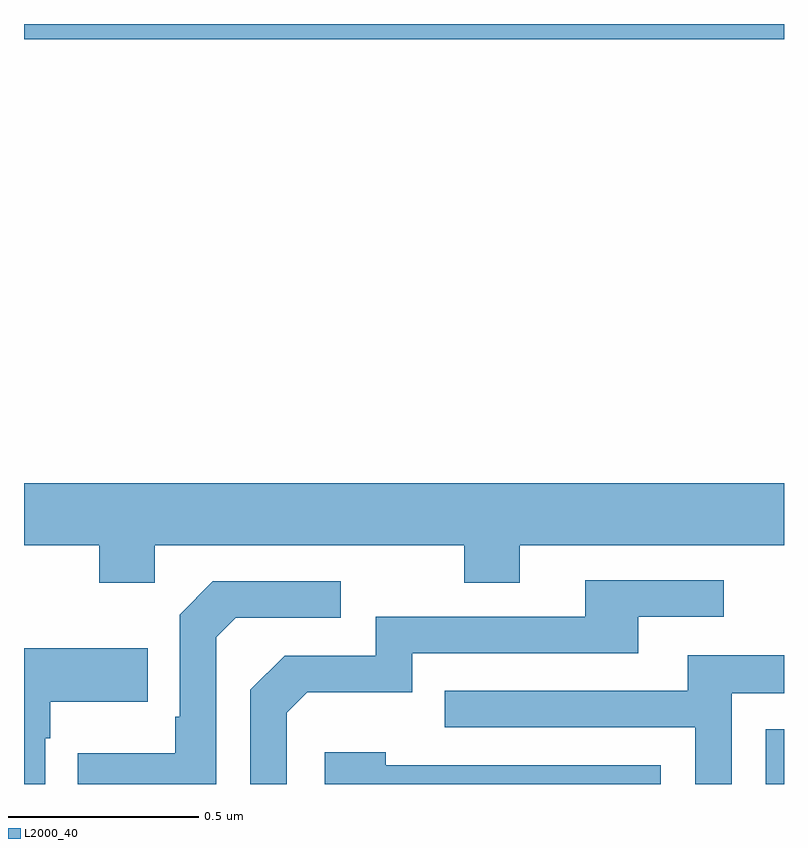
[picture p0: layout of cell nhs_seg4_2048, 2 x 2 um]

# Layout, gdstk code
import gdstk
lib = gdstk.Library(unit=1e-6, precision=1e-09)
def R(c, l, rs):  # rectangles x0, y0, x1, y1
    for r in rs: c.add(gdstk.rectangle(r[:2], r[2:], *l))
def P(c, l, *ps):  # polygons
    for p in ps: c.add(gdstk.Polygon(p, *l))
L2000_40 = (2000, 40)

nhs_seg4_2048 = lib.new_cell('nhs_seg4_2048')
R(nhs_seg4_2048, L2000_40, [(137.952,754.9,138,755.044), (136,756.86,138,756.9)])
P(nhs_seg4_2048, L2000_40, [(136.344,755.528),(137.158,755.528),(137.158,755.429),(137.305,755.429),(137.305,755.528),(138,755.528),(138,755.692),(136,755.692),(136,755.528),(136.198,755.528),(136.198,755.429),(136.344,755.429)],
  [(136.692,755.088),(136.745,755.141),(137.022,755.141),(137.022,755.244),(137.617,755.244),(137.617,755.34),(137.842,755.34),(137.842,755.436),(137.477,755.436),(137.477,755.34),(136.926,755.34),(136.926,755.238),(136.686,755.238),(136.596,755.148),(136.596,754.9),(136.692,754.9)],
  [(136.506,755.286),(136.557,755.337),(136.834,755.337),(136.834,755.433),(136.497,755.433),(136.41,755.346),(136.41,755.077),(136.398,755.077),(136.398,754.981),(136.141,754.981),(136.141,754.9),(136.506,754.9)],
  [(136.056,755.021),(136.069,755.021),(136.069,755.117),(136.325,755.117),(136.325,755.257),(136,755.257),(136,754.9),(136.056,754.9)],
  [(137.862,755.139),(138,755.139),(138,755.239),(137.747,755.239),(137.747,755.145),(137.107,755.145),(137.107,755.049),(137.766,755.049),(137.766,754.9),(137.862,754.9)],
  [(137.676,754.95),(136.952,754.95),(136.952,754.984),(136.791,754.984),(136.791,754.9),(137.676,754.9)])

lib.write_gds('nhs_seg4_2048.gds')
